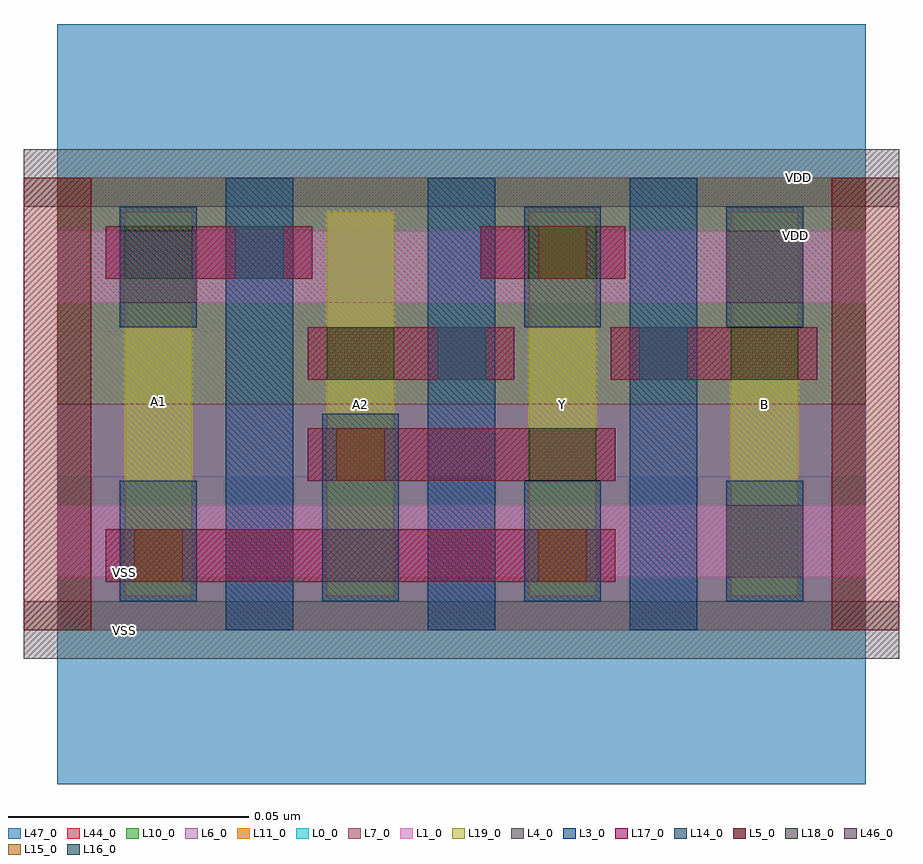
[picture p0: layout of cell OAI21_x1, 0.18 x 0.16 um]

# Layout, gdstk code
import gdstk
lib = gdstk.Library(unit=1e-6, precision=5e-10)
def R(c, l, rs):  # rectangles x0, y0, x1, y1
    for r in rs: c.add(gdstk.rectangle(r[:2], r[2:], *l))
def A(c, l, x, y, w, h, nx, ny, dx, dy):  # array of equal rectangles
    R(c, l, [(x+i*dx, y+j*dy, x+i*dx+w, y+j*dy+h) for i in range(nx) for j in range(ny)])
L0_0 = (0, 0)
L1_0 = (1, 0)
L3_0 = (3, 0)
L4_0 = (4, 0)
L5_0 = (5, 0)
L6_0 = (6, 0)
L7_0 = (7, 0)
L10_0 = (10, 0)
L11_0 = (11, 0)
L14_0 = (14, 0)
L15_0 = (15, 0)
L16_0 = (16, 0)
L17_0 = (17, 0)
L18_0 = (18, 0)
L19_0 = (19, 0)
L44_0 = (44, 0)
L46_0 = (46, 0)
L47_0 = (47, 0)

oai21_x1 = lib.new_cell('OAI21_x1')
R(oai21_x1, L0_0, [(0,0.047,0.168,0.094)])
R(oai21_x1, L1_0, [(0,0.011,0.168,0.026), (0,0.068,0.168,0.083)])
A(oai21_x1, L3_0, 0.035, 0, 0.014, 0.094, 3, 1, 0.042, 0)
R(oai21_x1, L4_0, [(-0.007,-0.006,0.175,0.006), (-0.007,0.088,0.175,0.1)])
R(oai21_x1, L5_0, [(-0.007,0,0.007,0.094), (0.161,0,0.175,0.094)])
R(oai21_x1, L6_0, [(0,0,0.168,0.047)])
R(oai21_x1, L7_0, [(0,0.047,0.168,0.094)])
R(oai21_x1, L10_0, [(0,0,0.168,0.047)])
R(oai21_x1, L11_0, [(0,0.047,0.168,0.094)])
R(oai21_x1, L14_0, [(0.013,0.006,0.029,0.031), (0.055,0.006,0.071,0.045), (0.097,0.006,0.113,0.031), (0.139,0.006,0.155,0.031), (0.013,0.063,0.029,0.088), (0.097,0.063,0.113,0.088), (0.139,0.063,0.155,0.088)])
R(oai21_x1, L15_0, [(0.016,0.01,0.026,0.021), (0.1,0.01,0.11,0.021), (0.058,0.031,0.068,0.042), (0.1,0.073,0.11,0.084)])
R(oai21_x1, L16_0, [(0.079,0.052,0.089,0.063), (0.121,0.052,0.131,0.063), (0.037,0.073,0.047,0.084)])
R(oai21_x1, L17_0, [(0.01,0.01,0.116,0.021), (0.052,0.031,0.116,0.042), (0.052,0.052,0.095,0.063), (0.115,0.052,0.158,0.063), (0.01,0.073,0.053,0.084), (0.088,0.073,0.118,0.084)])
R(oai21_x1, L18_0, [(0.098,0.031,0.112,0.042), (0.056,0.052,0.07,0.063), (0.14,0.052,0.154,0.063), (0.014,0.073,0.028,0.084), (0.098,0.073,0.112,0.084)])
A(oai21_x1, L19_0, 0.014, 0.007, 0.014, 0.08, 4, 1, 0.042, 0)
R(oai21_x1, L44_0, [(0,0,0.168,0.094)])
R(oai21_x1, L46_0, [(0.139,0.011,0.155,0.026), (0.013,0.068,0.029,0.083), (0.139,0.068,0.155,0.083)])
R(oai21_x1, L47_0, [(0,-0.032,0.168,0.032), (0,0.062,0.168,0.126)])
oai21_x1.add(gdstk.Label('VDD', (0.154,0.094), layer=0, texttype=2))
oai21_x1.add(gdstk.Label('Y', (0.105,0.047), layer=19, texttype=2))
oai21_x1.add(gdstk.Label('A1', (0.021,0.0475), layer=19, texttype=2))
oai21_x1.add(gdstk.Label('B', (0.147,0.047), layer=19, texttype=2))
oai21_x1.add(gdstk.Label('A2', (0.063,0.047), layer=19, texttype=2))
oai21_x1.add(gdstk.Label('VSS', (0.014,0), layer=54, texttype=2))
oai21_x1.add(gdstk.Label('VSS', (0.014,0.012), layer=47, texttype=2))
oai21_x1.add(gdstk.Label('VDD', (0.1535,0.082), layer=47, texttype=2))

lib.write_gds('OAI21_x1.gds')
